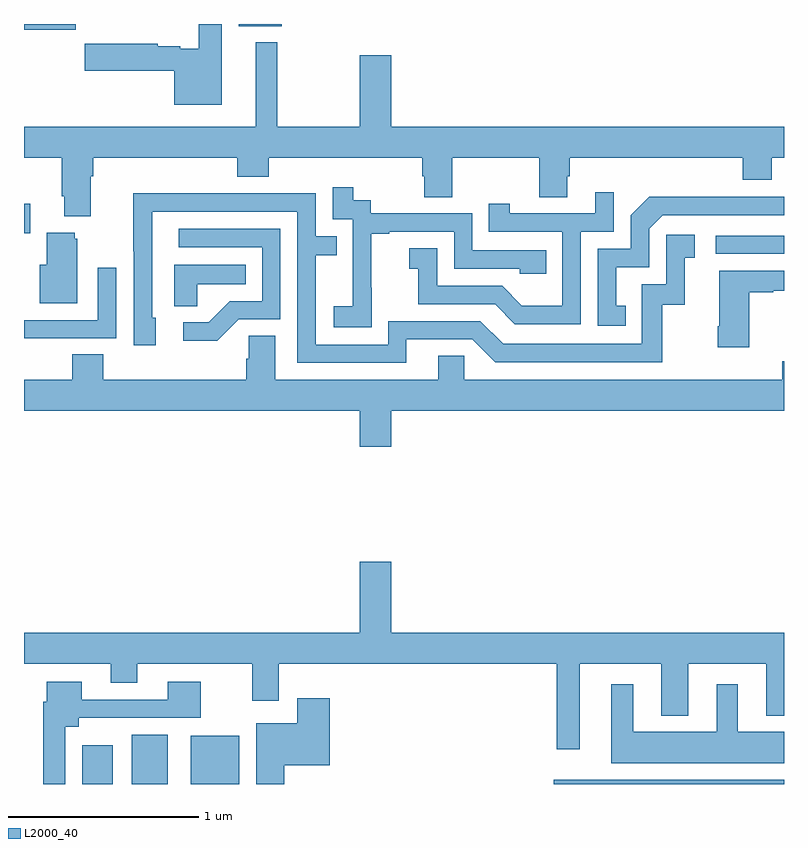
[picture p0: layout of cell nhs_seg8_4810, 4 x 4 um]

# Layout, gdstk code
import gdstk
lib = gdstk.Library(unit=1e-6, precision=1e-09)
def R(c, l, rs):  # rectangles x0, y0, x1, y1
    for r in rs: c.add(gdstk.rectangle(r[:2], r[2:], *l))
def P(c, l, *ps):  # polygons
    for p in ps: c.add(gdstk.Polygon(p, *l))
L2000_40 = (2000, 40)

nhs_seg8_4810 = lib.new_cell('nhs_seg8_4810')
R(nhs_seg8_4810, L2000_40, [(403.307,1083.9,403.468,1084.105), (403.568,1083.9,403.756,1084.159), (403.877,1083.9,404.134,1084.153), (405.788,1083.9,407,1083.922), (406.641,1086.69,407,1086.786), (403,1086.799,403.033,1086.955), (403,1087.871,403.273,1087.9), (404.129,1087.889,404.356,1087.9)])
P(nhs_seg8_4810, L2000_40, [(404.041,1087.9),(403.92,1087.9),(403.92,1087.771),(403.823,1087.771),(403.823,1087.784),(403.704,1087.784),(403.704,1087.796),(403.32,1087.796),(403.32,1087.654),(403.79,1087.654),(403.79,1087.475),(404.041,1087.475)],
  [(403,1087.196),(403.199,1087.196),(403.199,1086.994),(403.211,1086.994),(403.211,1086.887),(403.351,1086.887),(403.351,1087.1),(403.364,1087.1),(403.364,1087.196),(404.123,1087.196),(404.123,1087.097),(404.288,1087.097),(404.288,1087.196),(405.095,1087.196),(405.095,1087.098),(405.107,1087.098),(405.107,1086.988),(405.255,1086.988),(405.255,1087.196),(405.712,1087.196),(405.712,1086.988),(405.859,1086.988),(405.859,1087.098),(405.872,1087.098),(405.872,1087.196),(406.784,1087.196),(406.784,1087.079),(406.936,1087.079),(406.936,1087.196),(407,1087.196),(407,1087.36),(404.932,1087.36),(404.932,1087.735),(404.768,1087.735),(404.768,1087.36),(404.333,1087.36),(404.333,1087.804),(404.219,1087.804),(404.219,1087.36),(403,1087.36)],
  [(404.829,1086.511),(404.828,1086.511),(404.828,1086.795),(404.923,1086.795),(404.923,1086.807),(405.264,1086.807),(405.264,1086.612),(405.609,1086.612),(405.609,1086.585),(405.749,1086.585),(405.749,1086.708),(405.36,1086.708),(405.36,1086.903),(404.826,1086.903),(404.826,1086.972),(404.734,1086.972),(404.734,1087.042),(404.625,1087.042),(404.625,1086.873),(404.73,1086.873),(404.73,1086.644),(404.729,1086.644),(404.729,1086.415),(404.631,1086.415),(404.631,1086.305),(404.829,1086.305)],
  [(405.93,1086.807),(406.104,1086.807),(406.104,1087.015),(406.007,1087.015),(406.007,1086.903),(405.556,1086.903),(405.556,1086.955),(405.445,1086.955),(405.445,1086.807),(405.834,1086.807),(405.834,1086.418),(405.62,1086.418),(405.516,1086.522),(405.174,1086.522),(405.174,1086.721),(405.027,1086.721),(405.027,1086.611),(405.076,1086.611),(405.076,1086.426),(405.479,1086.426),(405.584,1086.321),(405.93,1086.321)],
  [(405.013,1086.24),(405.36,1086.24),(405.48,1086.12),(406.36,1086.12),(406.36,1086.423),(406.478,1086.423),(406.478,1086.669),(406.531,1086.669),(406.531,1086.79),(406.38,1086.79),(406.38,1086.531),(406.251,1086.531),(406.251,1086.216),(405.522,1086.216),(405.402,1086.336),(404.916,1086.336),(404.916,1086.213),(404.535,1086.213),(404.535,1086.682),(404.645,1086.682),(404.645,1086.783),(404.535,1086.783),(404.535,1087.008),(404.039,1087.008),(404.039,1087.01),(403.576,1087.01),(403.576,1086.703),(403.578,1086.703),(403.578,1086.21),(403.693,1086.21),(403.693,1086.354),(403.674,1086.354),(403.674,1086.912),(404.439,1086.912),(404.439,1086.117),(405.013,1086.117)],
  [(406.166,1086.417),(406.117,1086.417),(406.117,1086.621),(406.29,1086.621),(406.29,1086.822),(406.362,1086.894),(407,1086.894),(407,1086.99),(406.7,1086.99),(406.7,1086.992),(406.292,1086.992),(406.194,1086.894),(406.194,1086.717),(406.02,1086.717),(406.02,1086.312),(406.166,1086.312)],
  [(404.13,1086.345),(404.349,1086.345),(404.349,1086.822),(403.815,1086.822),(403.815,1086.726),(404.253,1086.726),(404.253,1086.441),(404.084,1086.441),(403.973,1086.33),(403.839,1086.33),(403.839,1086.233),(404.017,1086.233)],
  [(403.279,1086.771),(403.268,1086.771),(403.268,1086.802),(403.121,1086.802),(403.121,1086.634),(403.082,1086.634),(403.082,1086.431),(403.279,1086.431)],
  [(403.911,1086.53),(404.168,1086.53),(404.168,1086.634),(403.79,1086.634),(403.79,1086.415),(403.911,1086.415)],
  [(403.169,1086.246),(403.485,1086.246),(403.485,1086.616),(403.389,1086.616),(403.389,1086.342),(403,1086.342),(403,1086.245),(403.169,1086.245)],
  [(406.816,1086.487),(406.943,1086.487),(406.943,1086.497),(407,1086.497),(407,1086.601),(406.658,1086.601),(406.658,1086.31),(406.651,1086.31),(406.651,1086.198),(406.816,1086.198)],
  [(404.932,1085.864),(407,1085.864),(407,1086.124),(406.991,1086.124),(406.991,1086.028),(405.318,1086.028),(405.318,1086.155),(405.179,1086.155),(405.179,1086.028),(404.323,1086.028),(404.323,1086.26),(404.184,1086.26),(404.184,1086.137),(404.171,1086.137),(404.171,1086.028),(403.418,1086.028),(403.418,1086.161),(403.253,1086.161),(403.253,1086.028),(403,1086.028),(403,1085.864),(404.768,1085.864),(404.768,1085.676),(404.932,1085.676)],
  [(405.925,1084.532),(406.355,1084.532),(406.355,1084.259),(406.495,1084.259),(406.495,1084.532),(406.907,1084.532),(406.907,1084.259),(407,1084.259),(407,1084.696),(404.932,1084.696),(404.932,1085.071),(404.768,1085.071),(404.768,1084.696),(403,1084.696),(403,1084.532),(403.457,1084.532),(403.457,1084.433),(403.597,1084.433),(403.597,1084.532),(404.201,1084.532),(404.201,1084.338),(404.341,1084.338),(404.341,1084.532),(405.804,1084.532),(405.804,1084.083),(405.925,1084.083)],
  [(403.218,1084.202),(403.288,1084.202),(403.288,1084.248),(403.93,1084.248),(403.93,1084.438),(403.757,1084.438),(403.757,1084.344),(403.303,1084.344),(403.303,1084.438),(403.121,1084.438),(403.121,1084.334),(403.102,1084.334),(403.102,1083.9),(403.218,1083.9)],
  [(407,1084.174),(406.756,1084.174),(406.756,1084.426),(406.646,1084.426),(406.646,1084.174),(406.207,1084.174),(406.207,1084.426),(406.091,1084.426),(406.091,1084.01),(407,1084.01)],
  [(404.369,1083.998),(404.609,1083.998),(404.609,1084.351),(404.438,1084.351),(404.438,1084.219),(404.222,1084.219),(404.222,1083.9),(404.369,1083.9)])

lib.write_gds('nhs_seg8_4810.gds')
